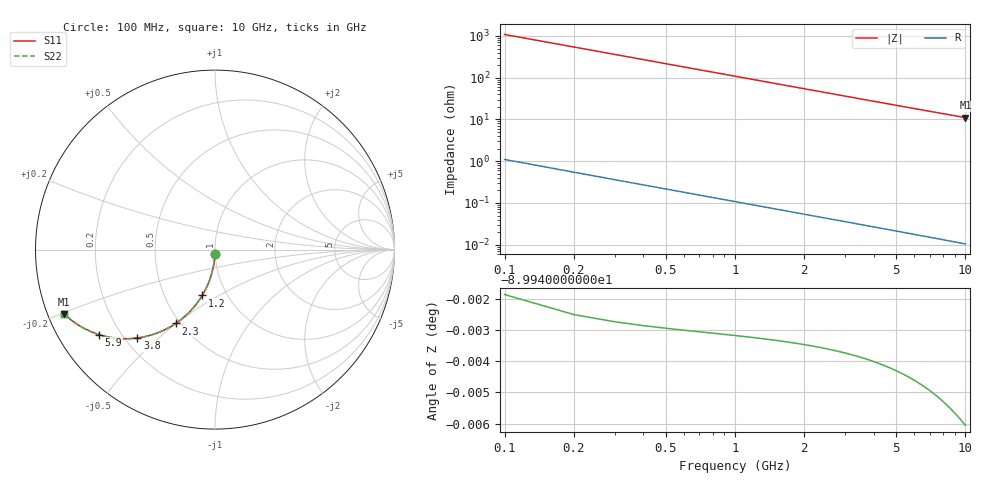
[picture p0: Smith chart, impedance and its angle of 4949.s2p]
# Hz S RI R 50.00
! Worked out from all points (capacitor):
!   100 points, 100 MHz to 10 GHz, reference 50 ohm
!   read as one part in shunt: C = 1.47 pF near 100 MHz
!   lowest |Z| = 11.1 ohm at 10 GHz (marker M1)
!   S11 on the Smith chart (normalised r, x): 100 MHz: 1.00, -0.05; 1.2 GHz: 0.77, -0.42; 2.3 GHz: 0.47, -0.50; 3.8 GHz: 0.25, -0.43; 5.9 GHz: 0.12, -0.32; 10 GHz: 0.05, -0.20
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1e8  -0.00053 -0.023  0.9994 -0.0231  0.9994 -0.0231  -0.00053 -0.023
2e8  -0.00214 -0.0458  0.9978 -0.0461  0.9978 -0.0461  -0.00214 -0.0458
3e8  -0.0048 -0.0686  0.9952 -0.069  0.9952 -0.069  -0.0048 -0.0686
4e8  -0.00848 -0.0911  0.9915 -0.0916  0.9915 -0.0916  -0.00848 -0.0911
5e8  -0.0132 -0.1133  0.9868 -0.114  0.9868 -0.114  -0.0132 -0.1133
6e8  -0.0188 -0.1351  0.9811 -0.136  0.9811 -0.136  -0.0188 -0.1351
7e8  -0.0255 -0.1566  0.9745 -0.1576  0.9745 -0.1576  -0.0255 -0.1566
9e8  -0.0413 -0.198  0.9586 -0.1993  0.9586 -0.1993  -0.0413 -0.198
1.2e9  -0.0711 -0.2557  0.9288 -0.2574  0.9288 -0.2574  -0.0711 -0.2557
1.5e9  -0.1067 -0.3073  0.8932 -0.3094  0.8932 -0.3094  -0.1067 -0.3073
1.8e9  -0.1467 -0.3521  0.8532 -0.3546  0.8532 -0.3546  -0.1467 -0.3521
2.3e9  -0.219 -0.4115  0.781 -0.4147  0.781 -0.4147  -0.219 -0.4115
2.8e9  -0.2933 -0.4528  0.7066 -0.4568  0.7066 -0.4568  -0.2933 -0.4528
3.4e9  -0.3794 -0.4824  0.6205 -0.4871  0.6205 -0.4871  -0.3794 -0.4824
3.8e9  -0.4328 -0.4923  0.5671 -0.4976  0.5671 -0.4976  -0.4328 -0.4923
4.4e9  -0.5055 -0.4964  0.4945 -0.5026  0.4945 -0.5026  -0.5055 -0.4964
5.1e9  -0.5784 -0.4897  0.4216 -0.4969  0.4216 -0.4969  -0.5784 -0.4897
5.9e9  -0.6471 -0.4732  0.3528 -0.4815  0.3528 -0.4815  -0.6471 -0.4732
6.7e9  -0.7026 -0.4518  0.2973 -0.4613  0.2973 -0.4613  -0.7026 -0.4518
7.5e9  -0.7474 -0.4286  0.2525 -0.4393  0.2525 -0.4393  -0.7474 -0.4286
8.4e9  -0.7877 -0.4024  0.2122 -0.4144  0.2122 -0.4144  -0.7877 -0.4024
1e10  -0.8401 -0.3587  0.1597 -0.3731  0.1597 -0.3731  -0.8401 -0.3587
